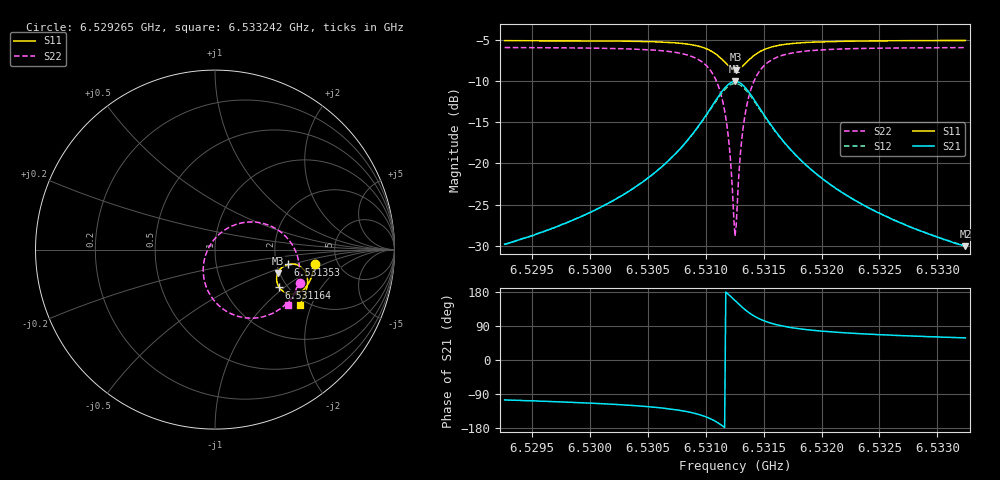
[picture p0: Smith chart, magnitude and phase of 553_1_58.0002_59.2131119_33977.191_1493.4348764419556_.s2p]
#  HZ  S  RI  R  50.00
! Rohde & Schwarz Vector Network Analyzer
! Rohde-Schwarz,ZNB20-2Port,1311601062101988,3.16
! Created: UTC 3/21/2024, 1:15:05 AM
! freq[Hz]  re:S11  im:S11  re:S21  im:S21  re:S12  im:S12  re:S22  im:S22
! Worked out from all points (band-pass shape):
!   401 points, 6.529265 GHz to 6.533242 GHz, reference 50 ohm
!   highest |S21| = -9.99 dB at 6.531253 GHz (marker M1); lowest = -30.1 dB at 6.533242 GHz (marker M2)
!   |S21| within 3 dB of the highest: 6.531056 GHz to 6.531454 GHz (397.9 kHz wide, 0.00609 % of centre)
!   lowest |S11| = -8.5 dB at 6.531263 GHz (marker M3), VSWR 2.19, Z = 98.1 - j29.6 ohm
!   |S11| at or under -10 dB: nowhere
!   |S22| runs from -28.8 to -5.9 dB; largest |S21 - S12| = 0.012
!   S11 on the Smith chart (normalised r, x): 6.529265 GHz: 3.36, -0.76; 6.531164 GHz: 1.81, -0.92; 6.531353 GHz: 2.30, -0.46; 6.533242 GHz: 1.82, -1.64
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6.5292653e9  0.5554 -0.0777  -0.00839 -0.0311  -0.00916 -0.0309  0.4738 -0.1865
6.5299313e9  0.5435 -0.1333  -0.0185 -0.0439  -0.0196 -0.0435  0.4408 -0.2481
6.5302991e9  0.5312 -0.1678  -0.0313 -0.0573  -0.0327 -0.0564  0.4073 -0.2911
6.5305973e9  0.5133 -0.2003  -0.054 -0.0748  -0.0562 -0.0733  0.356 -0.3349
6.530826e9  0.485 -0.2294  -0.0954 -0.0939  -0.0982 -0.0905  0.2729 -0.3729
6.5309949e9  0.4396 -0.2473  -0.1657 -0.0988  -0.1678 -0.092  0.1439 -0.3755
6.5310944e9  0.3936 -0.2405  -0.2366 -0.0701  -0.2352 -0.0601  0.0254 -0.3152
6.5311639e9  0.3582 -0.211  -0.2879 -0.00869  -0.2815 0.00137  -0.0504 -0.2034
6.5312037e9  0.3455 -0.1817  -0.3032 0.0462  -0.2935 0.0541  -0.0658 -0.1104
6.5312335e9  0.3439 -0.1557  -0.301 0.0928  -0.2898 0.098  -0.0538 -0.0345
6.5312435e9  0.3451 -0.1469  -0.2971 0.1083  -0.2855 0.1126  -0.0447 -0.00998
6.5312534e9  0.3474 -0.1383  -0.2916 0.1235  -0.28 0.1267  -0.0333 0.0139
6.5312633e9  0.3506 -0.1298  -0.2848 0.1381  -0.2732 0.1401  -0.0195 0.0365
6.531313e9  0.3775 -0.0962  -0.2329 0.1958  -0.2233 0.1937  0.0747 0.1219
6.5313528e9  0.4058 -0.0826  -0.1819 0.2188  -0.1749 0.215  0.1623 0.1511
6.5314224e9  0.4506 -0.0832  -0.1039 0.2193  -0.1005 0.2159  0.2925 0.1383
6.5315218e9  0.4892 -0.1066  -0.0375 0.1858  -0.0359 0.1838  0.3997 0.0673
6.5316709e9  0.5111 -0.1438  0.00191 0.1367  0.00311 0.136  0.4575 -0.0313
6.5319194e9  0.5158 -0.1878  0.018 0.0889  0.0191 0.0886  0.4708 -0.1307
6.5322177e9  0.5092 -0.224  0.0202 0.0606  0.0212 0.0601  0.4598 -0.1966
6.5325855e9  0.4968 -0.2581  0.0191 0.0425  0.02 0.0421  0.441 -0.2472
6.5332416e9  0.4708 -0.3077  0.0164 0.0267  0.0169 0.0264  0.4064 -0.306
